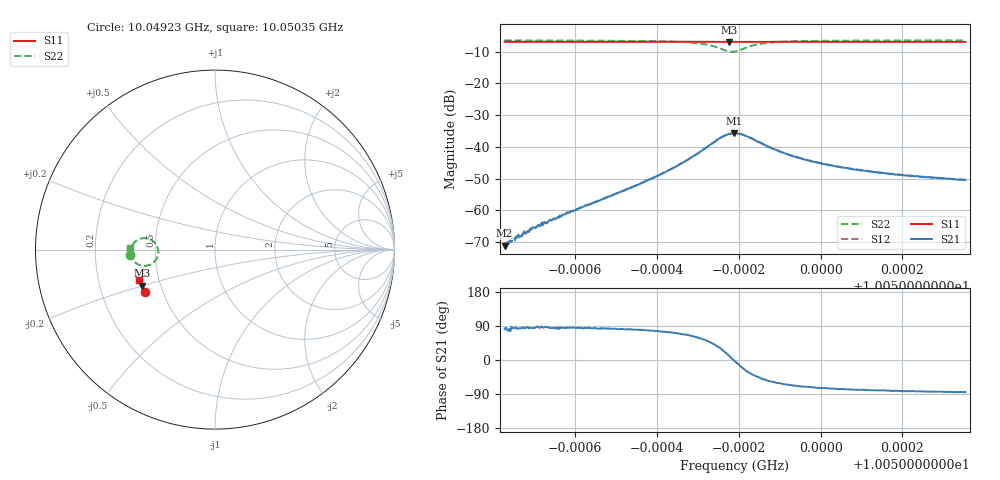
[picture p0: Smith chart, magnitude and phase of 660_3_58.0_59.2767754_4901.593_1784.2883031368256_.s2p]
#  HZ  S  RI  R  50.00
! Rohde & Schwarz Vector Network Analyzer
! Rohde-Schwarz,ZNB20-2Port,1311601062101988,3.16
! Created: UTC 3/21/2024, 1:19:56 AM
! freq[Hz]  re:S11  im:S11  re:S21  im:S21  re:S12  im:S12  re:S22  im:S22
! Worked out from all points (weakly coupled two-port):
!   401 points, 10.04923 GHz to 10.05035 GHz, reference 50 ohm
!   highest |S21| = -35.61 dB at 10.04979 GHz (marker M1); lowest = -71.1 dB at 10.04923 GHz (marker M2)
!   lowest |S11| = -6.9 dB at 10.04978 GHz (marker M3), VSWR 2.65, Z = 19.8 - j9.97 ohm
!   |S11| at or under -10 dB: nowhere
!   |S22| runs from -10.0 to -6.5 dB; largest |S21 - S12| = 0.0014
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1.0049228e10  -0.3899 -0.2335  4.16e-05 0.000275  3.37e-05 0.000272  -0.4739 -0.0317
1.0049253e10  -0.3906 -0.2321  3.4e-05 0.000339  2.15e-05 0.000355  -0.4738 -0.0293
1.0049273e10  -0.3913 -0.2309  4.67e-05 0.000437  2.75e-05 0.000427  -0.4738 -0.0272
1.0049295e10  -0.3923 -0.2296  5.44e-05 0.000538  1.82e-05 0.000491  -0.4737 -0.0251
1.004934e10  -0.3934 -0.2267  7.55e-05 0.000701  -1.94e-06 0.000717  -0.4734 -0.0203
1.0049416e10  -0.3958 -0.2224  9.91e-05 0.00111  3.95e-05 0.00115  -0.4726 -0.0115
1.0049518e10  -0.399 -0.2164  0.000292 0.00203  0.000184 0.00203  -0.4694 0.00373
1.0049605e10  -0.4014 -0.2111  0.000877 0.0035  0.000692 0.00354  -0.4617 0.0227
1.0049659e10  -0.403 -0.2079  0.00196 0.00509  0.00167 0.00517  -0.4489 0.04
1.0049709e10  -0.4041 -0.2045  0.00486 0.00724  0.00439 0.00749  -0.4178 0.0598
1.0049749e10  -0.4046 -0.2019  0.0107 0.00754  0.0101 0.00814  -0.3621 0.0571
1.0049777e10  -0.4047 -0.2007  0.0158 0.00297  0.0155 0.00413  -0.3191 0.00886
1.0049788e10  -0.4048 -0.2005  0.0166 -0.000187  0.0163 0.00116  -0.3163 -0.0218
1.0049791e10  -0.405 -0.2002  0.0164 -0.00107  0.0166 0.000303  -0.3175 -0.0294
1.0049805e10  -0.4053 -0.1999  0.0153 -0.00469  0.0155 -0.0035  -0.3335 -0.0625
1.0049822e10  -0.406 -0.1993  0.0124 -0.0075  0.0131 -0.00652  -0.3637 -0.085
1.0049861e10  -0.4077 -0.1973  0.00686 -0.00852  0.00743 -0.00801  -0.4205 -0.086
1.0049912e10  -0.4095 -0.1939  0.00347 -0.00715  0.004 -0.00693  -0.4514 -0.0648
1.004998e10  -0.4115 -0.1897  0.00183 -0.00562  0.0022 -0.00555  -0.4655 -0.0433
1.0050081e10  -0.4142 -0.1835  0.000897 -0.00437  0.00117 -0.00432  -0.4722 -0.0228
1.0050168e10  -0.4163 -0.1783  0.000604 -0.00372  0.000822 -0.00372  -0.4743 -0.0105
1.0050354e10  -0.4208 -0.1668  0.000273 -0.00302  0.000438 -0.003  -0.4753 0.009
